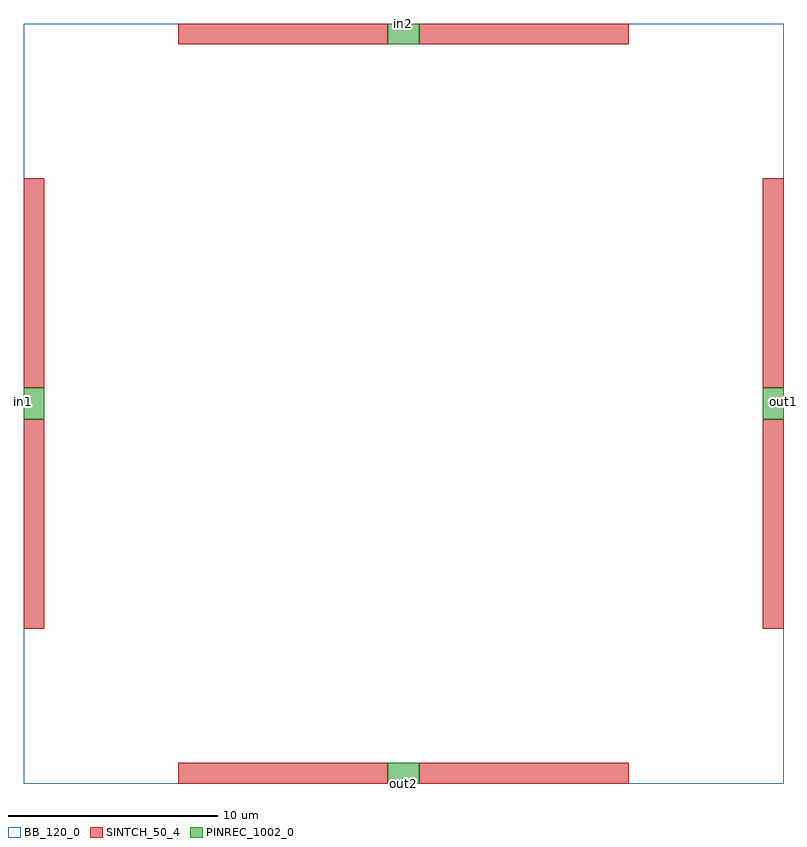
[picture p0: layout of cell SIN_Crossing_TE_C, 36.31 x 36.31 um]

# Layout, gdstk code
import gdstk
lib = gdstk.Library(unit=1e-6, precision=1e-09)
def R(c, l, rs):  # rectangles x0, y0, x1, y1
    for r in rs: c.add(gdstk.rectangle(r[:2], r[2:], *l))
SINTCH_50_4 = (50, 4)
BB_120_0 = (120, 0)
PINREC_1002_0 = (1002, 0)

sin_crossing_te_c = lib.new_cell('SIN_Crossing_TE_C')
R(sin_crossing_te_c, SINTCH_50_4, [(7.405,0,17.405,1), (18.905,0,28.905,1), (0,7.405,1,17.405), (35.31,7.405,36.31,17.405), (0,18.905,1,28.905), (35.31,18.905,36.31,28.905), (7.405,35.31,17.405,36.31), (18.905,35.31,28.905,36.31)])
R(sin_crossing_te_c, BB_120_0, [(0,0,36.31,36.31)])
R(sin_crossing_te_c, PINREC_1002_0, [(17.405,0,18.905,1), (0,17.405,1,18.905), (35.31,17.405,36.31,18.905), (17.405,35.31,18.905,36.31)])
sin_crossing_te_c.add(gdstk.Label('out2', (18.169,0), layer=1000, texttype=0))
sin_crossing_te_c.add(gdstk.Label('in2', (18.173,36.31), layer=1000, texttype=0))
sin_crossing_te_c.add(gdstk.Label('out1', (36.31,18.242), layer=1000, texttype=0))
sin_crossing_te_c.add(gdstk.Label('in1', (0,18.273), layer=1000, texttype=0))

lib.write_gds('SIN_Crossing_TE_C.gds')
